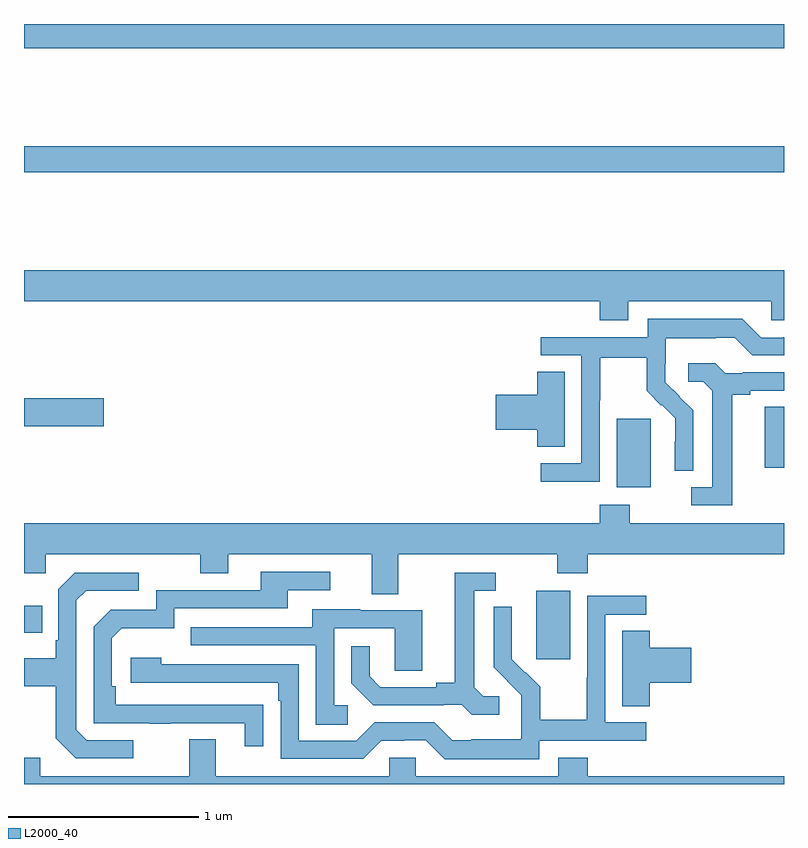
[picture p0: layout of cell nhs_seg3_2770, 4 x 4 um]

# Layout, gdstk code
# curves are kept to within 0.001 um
import gdstk
lib = gdstk.Library(unit=1e-6, precision=1e-09)
def R(c, l, rs):  # rectangles x0, y0, x1, y1
    for r in rs: c.add(gdstk.rectangle(r[:2], r[2:], *l))
def P(c, l, *ps):  # polygons
    for p in ps: c.add(gdstk.Polygon(p, *l))
L2000_40 = (2000, 40)

nhs_seg3_2770 = lib.new_cell('nhs_seg3_2770')
R(nhs_seg3_2770, L2000_40, [(257.696,675.057,257.875,675.418), (255,675.197,255.095,675.337), (258.119,675.962,258.298,676.323), (258.899,676.065,259,676.385), (255,676.283,255.421,676.43), (255,677.62,259,677.756), (255,678.272,259,678.4)])
P(nhs_seg3_2770, L2000_40, [(258.181,676.94),(258.933,676.94),(258.933,676.842),(259,676.842),(259,677.104),(255,677.104),(255,676.94),(258.029,676.94),(258.029,676.841),(258.181,676.841)],
  [(258.03,676.42),(258.033,676.42),(258.033,676.644),(258.277,676.644),(258.277,676.469),(258.354,676.392),(258.357,676.395),(258.428,676.325),(258.428,676.202),(258.426,676.202),(258.426,676.048),(258.522,676.048),(258.522,676.366),(258.376,676.514),(258.376,676.611),(258.378,676.611),(258.378,676.745),(258.641,676.745),(258.641,676.749),(258.741,676.749),(258.834,676.656),(259,676.656),(259,676.752),(258.995,676.752),(258.995,676.749),(258.879,676.749),(258.779,676.849),(258.282,676.849),(258.282,676.752),(257.721,676.752),(257.721,676.656),(257.934,676.656),(257.934,676.089),(257.721,676.089),(257.721,675.991),(258.03,675.991)],
  [(258.727,676.448),(258.823,676.448),(258.823,676.47),(259,676.47),(259,676.566),(258.784,676.566),(258.784,676.563),(258.69,676.563),(258.638,676.615),(258.495,676.615),(258.495,676.518),(258.576,676.518),(258.623,676.471),(258.623,675.963),(258.513,675.963),(258.513,675.867),(258.727,675.867)],
  [(257.845,676.571),(257.702,676.571),(257.702,676.448),(257.484,676.448),(257.484,676.265),(257.702,676.265),(257.702,676.174),(257.845,676.174)],
  [(256.969,675.608),(257.806,675.608),(257.806,675.509),(257.966,675.509),(257.966,675.608),(259,675.608),(259,675.772),(258.189,675.772),(258.189,675.871),(258.029,675.871),(258.029,675.772),(255,675.772),(255,675.509),(255.114,675.509),(255.114,675.608),(255.928,675.608),(255.928,675.509),(256.075,675.509),(256.075,675.608),(256.829,675.608),(256.829,675.4),(256.969,675.4)],
  [(256.259,674.816),(255.482,674.817),(255.482,674.914),(255.462,674.914),(255.462,675.168),(255.515,675.221),(255.792,675.221),(255.792,675.324),(256.387,675.324),(256.387,675.42),(256.612,675.42),(256.612,675.516),(256.247,675.516),(256.247,675.42),(255.696,675.42),(255.696,675.318),(255.456,675.318),(255.366,675.228),(255.366,674.721),(255.661,674.721),(255.661,674.716),(255.773,674.716),(255.773,674.721),(256.163,674.721),(256.163,674.598),(256.259,674.598)],
  [(257.5,674.862),(257.418,674.862),(257.371,674.909),(257.371,675.417),(257.482,675.417),(257.482,675.513),(257.267,675.513),(257.267,674.933),(257.171,674.933),(257.171,674.91),(256.876,674.91),(256.819,674.967),(256.819,675.124),(256.722,675.124),(256.722,674.93),(256.838,674.814),(257.21,674.814),(257.21,674.817),(257.304,674.817),(257.356,674.765),(257.5,674.765)],
  [(255.574,674.631),(255.33,674.631),(255.276,674.685),(255.276,675.366),(255.327,675.417),(255.604,675.417),(255.604,675.513),(255.267,675.513),(255.18,675.426),(255.18,675.157),(255.168,675.157),(255.168,675.061),(255,675.061),(255,674.914),(255.168,674.914),(255.168,674.641),(255.273,674.535),(255.574,674.535)],
  [(257.712,674.628),(258.274,674.628),(258.274,674.724),(258.06,674.724),(258.06,675.291),(258.274,675.291),(258.274,675.39),(257.964,675.39),(257.964,674.96),(257.962,674.96),(257.962,674.737),(257.717,674.737),(257.717,674.911),(257.64,674.988),(257.637,674.985),(257.567,675.056),(257.568,675.332),(257.472,675.332),(257.472,675.014),(257.618,674.866),(257.618,674.769),(257.616,674.769),(257.616,674.635),(257.353,674.635),(257.353,674.631),(257.253,674.631),(257.16,674.724),(256.845,674.724),(256.749,674.628),(256.446,674.628),(256.446,675.03),(255.722,675.03),(255.722,675.064),(255.561,675.064),(255.561,674.934),(256.337,674.934),(256.337,674.837),(256.35,674.837),(256.35,674.532),(256.785,674.532),(256.881,674.628),(257,674.628),(257,674.631),(257.115,674.631),(257.215,674.531),(257.712,674.531)],
  [(256.705,674.814),(256.632,674.814),(256.632,675.219),(256.95,675.219),(256.95,674.995),(257.095,674.995),(257.095,675.315),(256.771,675.315),(256.771,675.319),(256.517,675.319),(256.517,675.225),(255.877,675.225),(255.877,675.129),(256.536,675.129),(256.536,674.713),(256.705,674.713)],
  [(258.293,674.933),(258.511,674.933),(258.511,675.116),(258.293,675.116),(258.293,675.206),(258.149,675.206),(258.149,674.809),(258.293,674.809)],
  [(259,674.44),(257.966,674.44),(257.966,674.539),(257.813,674.539),(257.813,674.44),(257.061,674.44),(257.061,674.538),(256.923,674.538),(256.923,674.44),(256.009,674.44),(256.009,674.635),(255.869,674.635),(255.869,674.44),(255.085,674.44),(255.085,674.539),(255,674.539),(255,674.4),(259,674.4)])

lib.write_gds('nhs_seg3_2770.gds')
